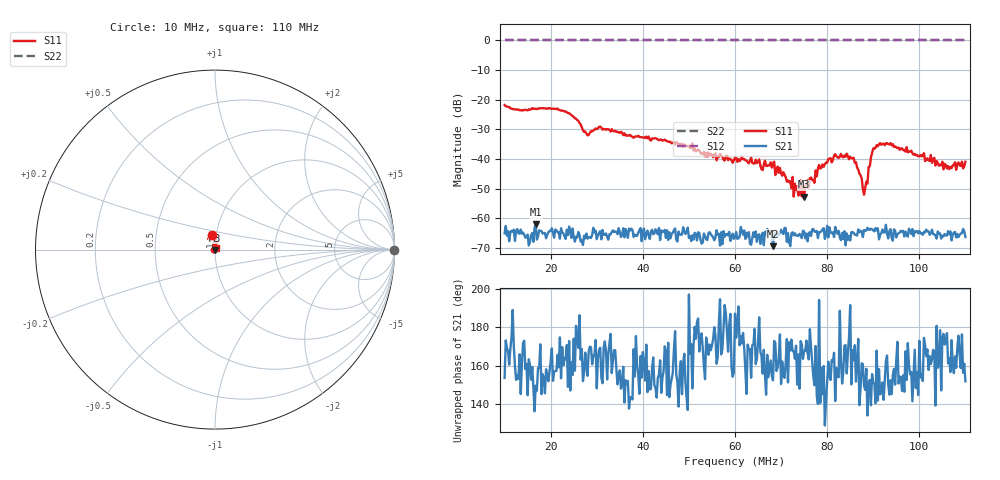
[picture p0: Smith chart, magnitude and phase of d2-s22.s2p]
! Anritsu VNA Master:  Model: MS2034B/10/19/501
! SN:  1337062
! /bd0/ovro-jan-2016/d2-s22.s2p
! Existing Calibration Information:
! TYPE:  Current Settings,  Active Cal Settings
! TIME:  01/08/2016 01:38:23 PM,  01/08/2016 01:28:30 PM
! INTERNAL TEMP:  47.5 C,  48.5 C
! # POINTS:  401,  401
! START FREQ:  10.000 MHz,  10.000 MHz
! STOP FREQ:  110.000 MHz,  110.000 MHz
! SOURCE POWER:  Low,  Low
! IFBW:  100 Hz,  100 Hz
! AVG FACTOR:  1 ,  1
! REF PLANE 1:  0 mm,  0 mm
! REF PLANE 2:  0 mm,  0 mm
! CAL TYPE:  Full S11,  Full S11
! CAL METHOD:  SOLT,  SOLT
! CAL LINE TYPE:  Coax,  Coax
! DUT PORT 1:  K-Conn(M),  K-Conn(M)
! DUT PORT 2:  N-Conn(M),  N-Conn(M)
! CAL STATUS:  OK: Accuracy High,  --
# GHZ S DB R 50.0
! FREQ.GHZ  S11DB  S11A  S21DB  S21A  S12DB  S12A  S22DB  S22A
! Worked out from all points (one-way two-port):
!   401 points, 10 MHz to 110 MHz, reference 50 ohm
!   highest |S21| = -61.95 dB at 16.75 MHz (marker M1); lowest = -69.4 dB at 68.25 MHz (marker M2)
!   lowest |S11| = -52.7 dB at 75 MHz (marker M3), VSWR 1.00, Z = 50.2 - j0.161 ohm
!   |S11| at or under -10 dB: start of sweep to end of sweep
!   |S22| runs from 0.0 to 0.0 dB; largest |S21 - S12| = 1
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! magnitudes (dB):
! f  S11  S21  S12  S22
! 10 MHz  -21.8  -65.0  0.0  0.0
! 15 MHz  -23.6  -65.4  0.0  0.0
! 16.75 MHz  -23.1  -61.9  0.0  0.0
! 23.25 MHz  -23.9  -66.9  0.0  0.0
! 26.75 MHz  -29.2  -67.4  0.0  0.0
! 29.25 MHz  -30.4  -63.1  0.0  0.0
! 43.5 MHz  -33.6  -63.2  0.0  0.0
! 60 MHz  -39.4  -66.5  0.0  0.0
! 68.25 MHz  -41.4  -69.4  0.0  0.0
! 70.5 MHz  -44.4  -65.3  0.0  0.0
! 71.75 MHz  -47.8  -68.2  0.0  0.0
! 73.25 MHz  -50.4  -65.8  0.0  0.0
! 75 MHz  -52.7  -64.4  0.0  0.0
! 76.75 MHz  -47.0  -63.7  0.0  0.0
! 80.25 MHz  -40.0  -66.4  0.0  0.0
! 84 MHz  -39.2  -69.1  0.0  0.0
! 85.75 MHz  -39.6  -64.9  0.0  0.0
! 88.25 MHz  -49.7  -64.2  0.0  0.0
! 90.25 MHz  -36.6  -64.4  0.0  0.0
! 93.5 MHz  -35.1  -64.3  0.0  0.0
! 106.5 MHz  -43.4  -65.3  0.0  0.0
! 110 MHz  -40.9  -66.3  0.0  0.0
